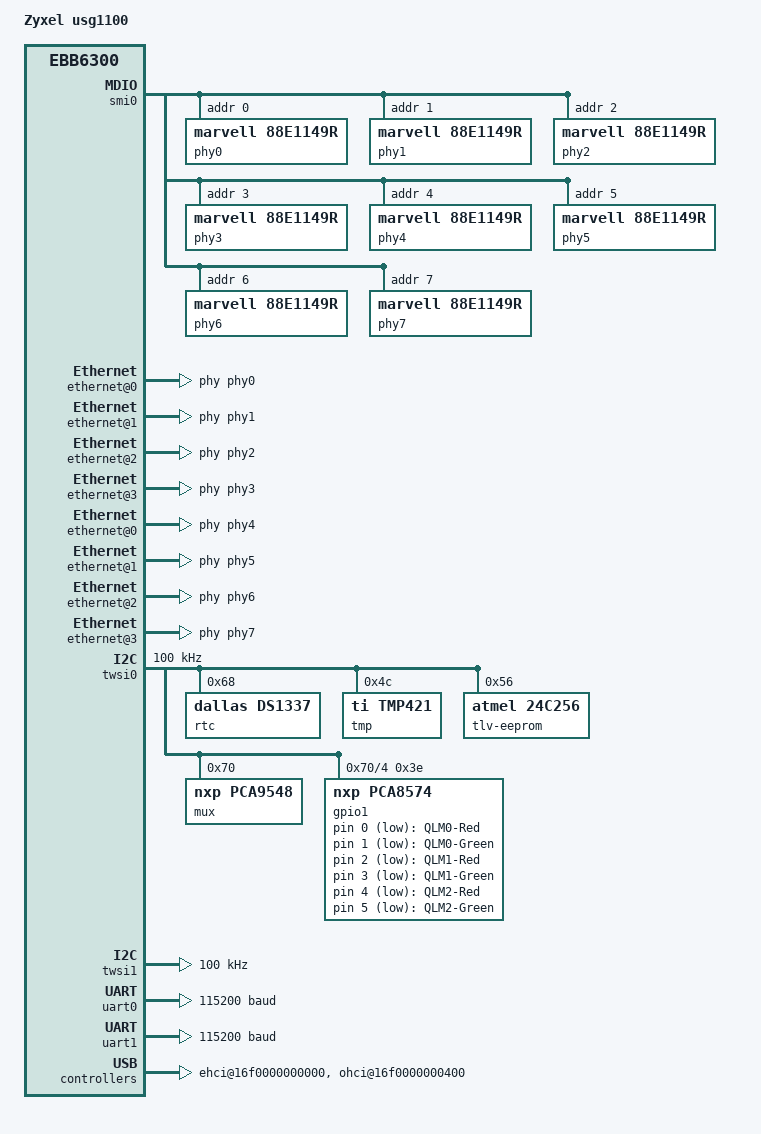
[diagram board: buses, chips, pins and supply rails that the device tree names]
/dts-v1/;
/*
 * Cavium Inc. EBB6300 board
 */
/ {
	model = "Zyxel usg1100";
	compatible = "zyxel,usg1100", "cavium,ebb6300";
	#address-cells = <2>;
	#size-cells = <2>;
	interrupt-parent = <&ciu>;

	soc@0 {
		compatible = "simple-bus";
		#address-cells = <2>;
		#size-cells = <2>;
		ranges; /* Direct mapping */

		ciu: interrupt-controller@1070000000000 {
			compatible = "cavium,octeon-3860-ciu";
			interrupt-controller;
			/* Interrupts are specified by two parts:
			 * 1) Controller register (0 or 1)
			 * 2) Bit within the register (0..63)
			 */
			#interrupt-cells = <2>;
			reg = <0x10700 0x00000000 0x0 0x7000>;
		};

		gpio: gpio-controller@1070000000800 {
			#gpio-cells = <2>;
			compatible = "cavium,octeon-3860-gpio";
			reg = <0x10700 0x00000800 0x0 0x100>;
			gpio-controller;
			/* Interrupts are specified by two parts:
			 * 1) GPIO pin number (0..15)
			 * 2) Triggering (1 - edge rising
			 *		  2 - edge falling
			 *		  4 - level active high
			 *		  8 - level active low)
			 */
			interrupt-controller;
			#interrupt-cells = <2>;
			/* The GPIO pins connect to 16 consecutive CUI bits */
			interrupts = <0 16>; /* <0 17> <0 18> <0 19>
				     <0 20> <0 21> <0 22> <0 23>
				     <0 24> <0 25> <0 26> <0 27>
				     <0 28> <0 29> <0 30> <0 31>; */
		};

		smi0: mdio@1180000001800 {
			phy0: ethernet-phy@0 {
				reg = <0>;
				compatible = "marvell,88e1149r";
				marvell,reg-init = <3 0x10 0 0x5777>,
					<3 0x11 0 0x00aa>,
					<3 0x12 0 0x4105>,
					<3 0x13 0 0x0a60>;
			};
			phy1: ethernet-phy@1 {
				reg = <1>;
				compatible = "marvell,88e1149r";
				marvell,reg-init = <3 0x10 0 0x5777>,
					<3 0x11 0 0x00aa>,
					<3 0x12 0 0x4105>,
					<3 0x13 0 0x0a60>;
			};
			phy2: ethernet-phy@2 {
				reg = <2>;
				compatible = "marvell,88e1149r";
				marvell,reg-init = <3 0x10 0 0x5777>,
					<3 0x11 0 0x00aa>,
					<3 0x12 0 0x4105>,
					<3 0x13 0 0x0a60>;
			};
			phy3: ethernet-phy@3 {
				reg = <3>;
				compatible = "marvell,88e1149r";
				marvell,reg-init = <3 0x10 0 0x5777>,
					<3 0x11 0 0x00aa>,
					<3 0x12 0 0x4105>,
					<3 0x13 0 0x0a60>;
			};

			phy4: ethernet-phy@4 {
				reg = <4>;
				compatible = "marvell,88e1149r";
				marvell,reg-init = <3 0x10 0 0x5777>,
					<3 0x11 0 0x00aa>,
					<3 0x12 0 0x4105>,
					<3 0x13 0 0x0a60>;
			};
			phy5: ethernet-phy@5 {
				reg = <5>;
				compatible = "marvell,88e1149r";
				marvell,reg-init = <3 0x10 0 0x5777>,
					<3 0x11 0 0x00aa>,
					<3 0x12 0 0x4105>,
					<3 0x13 0 0x0a60>;
			};
			phy6: ethernet-phy@6 {
				reg = <6>;
				compatible = "marvell,88e1149r";
				marvell,reg-init = <3 0x10 0 0x5777>,
					<3 0x11 0 0x00aa>,
					<3 0x12 0 0x4105>,
					<3 0x13 0 0x0a60>;
			};
			phy7: ethernet-phy@7 {
				reg = <7>;
				compatible = "marvell,88e1149r";
				marvell,reg-init = <3 0x10 0 0x5777>,
					<3 0x11 0 0x00aa>,
					<3 0x12 0 0x4105>,
					<3 0x13 0 0x0a60>;
			};
		};

		pip: pip@11800a0000000 {
			interface@0 {
				ethernet@0 {
					compatible = "cavium,octeon-3860-pip-port";
					reg = <0x0>; /* Port */
					local-mac-address = [ 00 00 00 00 00 00 ];
					phy-handle = <&phy0>;
					label = "lan0";
				};
				ethernet@1 {
					compatible = "cavium,octeon-3860-pip-port";
					reg = <0x1>; /* Port */
					local-mac-address = [ 00 00 00 00 00 00 ];
					phy-handle = <&phy1>;
					label = "lan1";
				};
				ethernet@2 {
					compatible = "cavium,octeon-3860-pip-port";
					reg = <0x2>; /* Port */
					local-mac-address = [ 00 00 00 00 00 00 ];
					phy-handle = <&phy2>;
					label = "lan2";
				};	
				ethernet@3 {
					compatible = "cavium,octeon-3860-pip-port";
					reg = <0x3>; /* Port */
					local-mac-address = [ 00 00 00 00 00 00 ];
					phy-handle = <&phy3>;
					label = "lan3";
				};
			};

			interface@1 {
				ethernet@0 {
					compatible = "cavium,octeon-3860-pip-port";
					reg = <0x0>; /* Port */
					local-mac-address = [ 00 00 00 00 00 00 ];
					phy-handle = <&phy4>;
					label = "lan4";
				};
				ethernet@1 {
					compatible = "cavium,octeon-3860-pip-port";
					reg = <0x1>; /* Port */
					local-mac-address = [ 00 00 00 00 00 00 ];
					phy-handle = <&phy5>;
					label = "lan5";
				};
				ethernet@2 {
					compatible = "cavium,octeon-3860-pip-port";
					reg = <0x2>; /* Port */
					local-mac-address = [ 00 00 00 00 00 00 ];
					phy-handle = <&phy6>;
					label = "lan6";
				};
				ethernet@3 {
					compatible = "cavium,octeon-3860-pip-port";
					reg = <0x3>; /* Port */
					local-mac-address = [ 00 00 00 00 00 00 ];
					phy-handle = <&phy7>;
					label = "lan7";
				};
			};
		};

		twsi0: i2c@1180000001000 {
			#address-cells = <1>;
			#size-cells = <0>;
			compatible = "cavium,octeon-3860-twsi";
			reg = <0x11800 0x00001000 0x0 0x200>;
			interrupts = <0 45>;
			clock-frequency = <100000>;

			rtc@68 {
				compatible = "dallas,ds1337";
				reg = <0x68>;
			};
			tmp@4c {
				compatible = "ti,tmp421";
				reg = <0x4c>;
			};
			tlv-eeprom@56 {
				compatible = "atmel,24c256";
				reg = <0x56>;
				pagesize = <64>;
			};
			mux@70 {
				compatible = "nxp,pca9548";
				reg = <0x70>;
				#address-cells = <1>;
				#size-cells = <0>;

				i2c@4 {
					#address-cells = <1>;
					#size-cells = <0>;
					reg = <4>;

					gpio1: gpio@3e {
						compatible = "nxp,pca8574";
						reg = <0x3e>;
						/* Two cells, the GPIO pin number and flags. */
						#gpio-cells = <2>;
						gpio-controller;
					};
				};

			};
		};

		twsi1: i2c@1180000001200 {
			#address-cells = <1>;
			#size-cells = <0>;
			compatible = "cavium,octeon-3860-twsi";
			reg = <0x11800 0x00001200 0x0 0x200>;
			interrupts = <0 59>;
			clock-frequency = <100000>;
		};

		uart0: serial@1180000000800 {
			compatible = "cavium,octeon-3860-uart","ns16550";
			reg = <0x11800 0x00000800 0x0 0x400>;
			clock-frequency = <0>;
			current-speed = <115200>;
			reg-shift = <3>;
			interrupts = <0 34>;
		};

		uart1: serial@1180000000c00 {
			compatible = "cavium,octeon-3860-uart","ns16550";
			reg = <0x11800 0x00000c00 0x0 0x400>;
			clock-frequency = <0>;
			current-speed = <115200>;
			reg-shift = <3>;
			interrupts = <0 35>;
		};

		bootbus: bootbus@1180000000000 {
			compatible = "cavium,octeon-3860-bootbus";
			reg = <0x11800 0x00000000 0x0 0x200>;
			/* The chip select number and offset */
			#address-cells = <2>;
			/* The size of the chip select region */
			#size-cells = <1>;
			ranges = <0 0  0       0x1f400000  0xc00000>,
				 <1 0  0x10000 0x30000000  0>,
				 <2 0  0x10000 0x40000000  0>,
				 <3 0  0x10000 0x50000000  0>,
				 <4 0  0       0x1d020000  0x10000>,
				 <5 0  0       0x1d040000  0x10000>,
				 <6 0  0       0x1d050000  0x10000>,
				 <7 0  0x10000 0x90000000  0>;

			cavium,cs-config@0 {
				compatible = "cavium,octeon-3860-bootbus-config";
				cavium,cs-index = <0>;
				cavium,t-adr  = <10>;
				cavium,t-ce   = <50>;
				cavium,t-oe   = <50>;
				cavium,t-we   = <35>;
				cavium,t-rd-hld = <25>;
				cavium,t-wr-hld = <35>;
				cavium,t-pause  = <0>;
				cavium,t-wait   = <300>;
				cavium,t-page   = <25>;
				cavium,t-rd-dly = <0>;

				cavium,pages     = <0>;
				cavium,bus-width = <8>;
			};
			cavium,cs-config@4 {
				compatible = "cavium,octeon-3860-bootbus-config";
				cavium,cs-index = <4>;
				cavium,t-adr  = <10>;
				cavium,t-ce   = <10>;
				cavium,t-oe   = <160>;
				cavium,t-we   = <100>;
				cavium,t-rd-hld = <0>;
				cavium,t-wr-hld = <0>;
				cavium,t-pause  = <50>;
				cavium,t-wait   = <300>;
				cavium,t-page   = <300>;
				cavium,t-rd-dly = <10>;

				cavium,pages     = <0>;
				cavium,bus-width = <8>;
			};
			cavium,cs-config@5 {
				compatible = "cavium,octeon-3860-bootbus-config";
				cavium,cs-index = <5>;
				cavium,t-adr  = <0>;
				cavium,t-ce   = <300>;
				cavium,t-oe   = <125>;
				cavium,t-we   = <150>;
				cavium,t-rd-hld = <100>;
				cavium,t-wr-hld = <300>;
				cavium,t-pause  = <0>;
				cavium,t-wait   = <300>;
				cavium,t-page   = <300>;
				cavium,t-rd-dly = <0>;

				cavium,pages     = <0>;
				cavium,bus-width = <16>;
			};
			cavium,cs-config@6 {
				compatible = "cavium,octeon-3860-bootbus-config";
				cavium,cs-index = <6>;
				cavium,t-adr  = <0>;
				cavium,t-ce   = <30>;
				cavium,t-oe   = <125>;
				cavium,t-we   = <150>;
				cavium,t-rd-hld = <100>;
				cavium,t-wr-hld = <30>;
				cavium,t-pause  = <0>;
				cavium,t-wait   = <30>;
				cavium,t-page   = <300>;
				cavium,t-rd-dly = <0>;

				cavium,pages     = <0>;
				cavium,wait-mode;
				cavium,bus-width = <16>;
			};

			flash0: nor@0,0 {
				compatible = "cfi-flash";
				reg = <0 0 0x800000>;
				#address-cells = <1>;
				#size-cells = <1>;

				partition@0 {
					label = "bootloader";
					reg = <0 0x280000>;
					read-only;
				};
				partition@280000 {
					label = "kernel";
					reg = <0x200000 0x200000>;
				};
				partition@480000 {
					label = "cramfs";
					reg = <0x400000 0x37e000>;
				};
				partition@7fe000 {
					label = "environment";
					reg = <0x7fe000 0x2000>;
					read-only;
				};
			};

			compact-flash@5,0 {
				compatible = "cavium,ebt3000-compact-flash";
				reg = <5 0 0x10000>, <6 0 0x10000>;
				cavium,bus-width = <16>;
				cavium,true-ide;
				cavium,dma-engine-handle = <&dma0>; 
			};
		};

		dma0: dma-engine@1180000000100 {
			compatible = "cavium,octeon-5750-bootbus-dma";
			reg = <0x11800 0x00000100 0x0 0x8>;
			interrupts = <0 63>;
		};
		dma1: dma-engine@1180000000108 {
			compatible = "cavium,octeon-5750-bootbus-dma";
			reg = <0x11800 0x00000108 0x0 0x8>;
			interrupts = <0 63>;
		};

		uctl: uctl@118006f000000 {
			compatible = "cavium,octeon-6335-uctl";
			reg = <0x11800 0x6f000000 0x0 0x100>;
			ranges; /* Direct mapping */
			#address-cells = <2>;
			#size-cells = <2>;
			/* 12MHz, 24MHz and 48MHz allowed */
			refclk-frequency = <12000000>;
			/* Either "crystal" or "external" */
			refclk-type = "crystal";

			ehci@16f0000000000 {
				compatible = "cavium,octeon-6335-ehci","usb-ehci";
				reg = <0x16f00 0x00000000 0x0 0x100>;
				interrupts = <0 56>;
				big-endian-regs;
			};
			ohci@16f0000000400 {
				compatible = "cavium,octeon-6335-ohci","usb-ohci";
				reg = <0x16f00 0x00000400 0x0 0x100>;
				interrupts = <0 56>;
				big-endian-regs;
			};
		};
	};

	gpio-leds {
		compatible = "gpio-leds";

		d6 {
			label = "QLM0-Red";
			gpios = <&gpio1 0 1>;
			default-state = "keep";
		};
		d7 {
			label = "QLM0-Green";
			gpios = <&gpio1 1 1>;
			default-state = "keep";
		};
		d10 {
			label = "QLM1-Red";
			gpios = <&gpio1 2 1>;
			default-state = "keep";
		};
		d11 {
			label = "QLM1-Green";
			gpios = <&gpio1 3 1>;
			default-state = "keep";
		};
		d14 {
			label = "QLM2-Red";
			gpios = <&gpio1 4 1>;
			default-state = "keep";
		};
		d15 {
			label = "QLM2-Green";
			gpios = <&gpio1 5 1>;
			default-state = "keep";
		};
	};

	aliases {
		pip = &pip;
		smi0 = &smi0;
		smi1 = &smi1;
		twsi0 = &twsi0;
		twsi1 = &twsi1;
		uart0 = &uart0;
		uart1 = &uart1;
		flash0 = &flash0;
	};
 };
